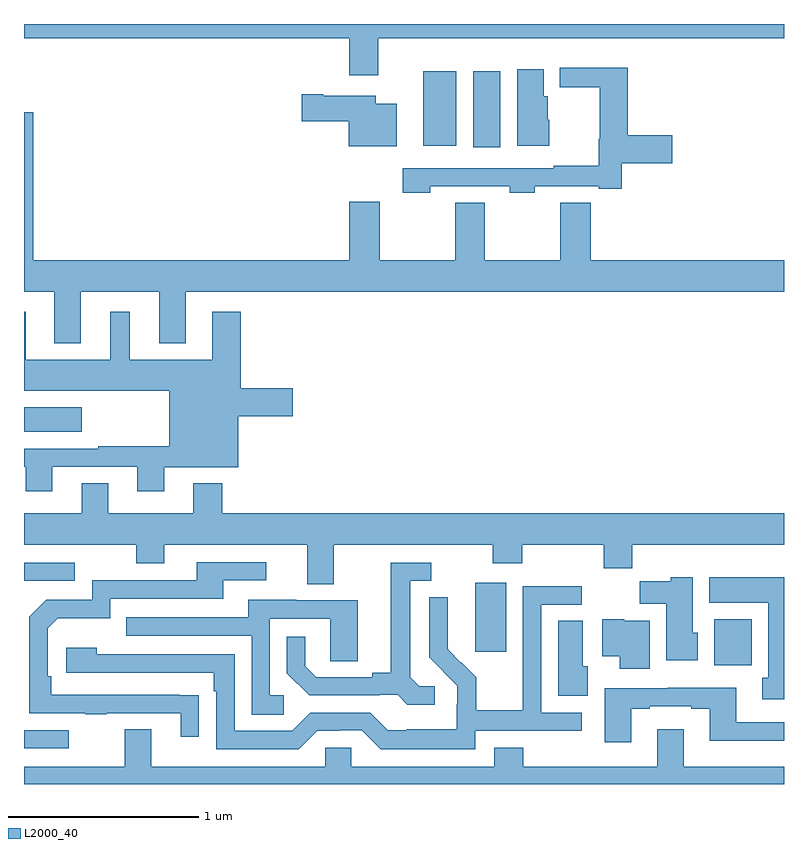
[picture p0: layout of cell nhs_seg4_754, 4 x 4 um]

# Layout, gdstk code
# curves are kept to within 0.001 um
import gdstk
lib = gdstk.Library(unit=1e-6, precision=1e-09)
def R(c, l, rs):  # rectangles x0, y0, x1, y1
    for r in rs: c.add(gdstk.rectangle(r[:2], r[2:], *l))
def P(c, l, *ps):  # polygons
    for p in ps: c.add(gdstk.Polygon(p, *l))
L2000_40 = (2000, 40)

nhs_seg4_754 = lib.new_cell('nhs_seg4_754')
R(nhs_seg4_754, L2000_40, [(149,789.087,149.236,789.183), (152.633,789.524,152.83,789.766), (151.376,789.597,151.537,789.958), (149,789.969,149.266,790.065), (149,790.754,149.305,790.882), (151.364,792.252,151.507,792.652), (151.1,792.26,151.276,792.652)])
P(nhs_seg4_754, L2000_40, [(150.865,792.824),(153,792.824),(153,792.9),(149,792.9),(149,792.824),(150.713,792.824),(150.713,792.63),(150.865,792.63)],
  [(151.137,792.045),(151.557,792.045),(151.557,792.013),(151.689,792.013),(151.689,792.045),(152.024,792.045),(152.024,792.033),(152.146,792.033),(152.146,792.167),(152.413,792.167),(152.413,792.314),(152.177,792.314),(152.177,792.67),(151.821,792.67),(151.821,792.568),(152.03,792.568),(152.03,792.297),(152.024,792.297),(152.024,792.154),(151.789,792.154),(151.789,792.141),(150.993,792.141),(150.993,792.013),(151.137,792.013)],
  [(151.765,792.396),(151.756,792.396),(151.756,792.519),(151.735,792.519),(151.735,792.661),(151.595,792.661),(151.595,792.26),(151.765,792.26)],
  [(150.961,792.481),(150.85,792.481),(150.85,792.523),(150.574,792.523),(150.574,792.531),(150.462,792.531),(150.462,792.389),(150.71,792.389),(150.71,792.257),(150.961,792.257)],
  [(149.299,791.492),(149.711,791.492),(149.711,791.219),(149.851,791.219),(149.851,791.492),(153,791.492),(153,791.656),(151.982,791.656),(151.982,791.96),(151.822,791.96),(151.822,791.656),(151.424,791.656),(151.424,791.96),(151.27,791.96),(151.27,791.656),(150.873,791.656),(150.873,791.965),(150.713,791.965),(150.713,791.656),(149.048,791.656),(149.048,792.436),(149,792.436),(149,791.492),(149.159,791.492),(149.159,791.219),(149.299,791.219)],
  [(149.149,790.569),(149.597,790.569),(149.597,790.44),(149.737,790.44),(149.737,790.568),(150.127,790.568),(150.127,790.835),(150.415,790.835),(150.415,790.982),(150.14,790.982),(150.14,791.386),(149.99,791.386),(149.99,791.134),(149.557,791.134),(149.557,791.386),(149.453,791.386),(149.453,791.134),(149.008,791.134),(149.008,791.386),(149,791.386),(149,790.97),(149.765,790.97),(149.765,790.678),(149.392,790.678),(149.392,790.665),(149,790.665),(149,790.569),(149.009,790.569),(149.009,790.44),(149.149,790.44)],
  [(150.631,790.16),(151.468,790.16),(151.468,790.061),(151.623,790.061),(151.623,790.16),(152.05,790.16),(152.05,790.036),(152.201,790.036),(152.201,790.16),(153,790.16),(153,790.324),(150.044,790.324),(150.044,790.483),(149.891,790.483),(149.891,790.324),(149.443,790.324),(149.443,790.484),(149.303,790.484),(149.303,790.324),(149,790.324),(149,790.16),(149.59,790.16),(149.59,790.061),(149.737,790.061),(149.737,790.16),(150.491,790.16),(150.491,789.952),(150.631,789.952)],
  [(149.921,789.368),(149.144,789.369),(149.144,789.466),(149.124,789.466),(149.124,789.72),(149.177,789.773),(149.454,789.773),(149.454,789.876),(150.049,789.876),(150.049,789.972),(150.274,789.972),(150.274,790.068),(149.909,790.068),(149.909,789.972),(149.358,789.972),(149.358,789.87),(149.118,789.87),(149.028,789.78),(149.028,789.273),(149.323,789.273),(149.323,789.268),(149.435,789.268),(149.435,789.273),(149.825,789.273),(149.825,789.15),(149.921,789.15)],
  [(151.162,789.414),(151.08,789.414),(151.033,789.461),(151.033,789.969),(151.144,789.969),(151.144,790.065),(150.929,790.065),(150.929,789.485),(150.833,789.485),(150.833,789.462),(150.538,789.462),(150.481,789.519),(150.481,789.676),(150.384,789.676),(150.384,789.482),(150.5,789.366),(150.872,789.366),(150.872,789.369),(150.966,789.369),(151.018,789.317),(151.162,789.317)],
  [(153,789.988),(152.606,789.988),(152.606,789.854),(152.918,789.854),(152.918,789.458),(152.885,789.458),(152.885,789.345),(153,789.345)],
  [(152.545,789.696),(152.521,789.696),(152.521,789.988),(152.403,789.988),(152.403,789.967),(152.242,789.967),(152.242,789.848),(152.381,789.848),(152.381,789.552),(152.545,789.552)],
  [(151.374,789.18),(151.936,789.18),(151.936,789.276),(151.722,789.276),(151.722,789.843),(151.936,789.843),(151.936,789.942),(151.626,789.942),(151.626,789.509),(151.624,789.509),(151.624,789.289),(151.379,789.289),(151.379,789.463),(151.302,789.54),(151.299,789.537),(151.229,789.608),(151.229,789.743),(151.231,789.743),(151.231,789.884),(151.134,789.884),(151.134,789.566),(151.28,789.418),(151.28,789.321),(151.278,789.321),(151.278,789.187),(151.015,789.187),(151.015,789.183),(150.915,789.183),(150.822,789.276),(150.507,789.276),(150.411,789.18),(150.108,789.18),(150.108,789.582),(149.384,789.582),(149.384,789.616),(149.223,789.616),(149.223,789.486),(149.999,789.486),(149.999,789.389),(150.012,789.389),(150.012,789.084),(150.447,789.084),(150.543,789.18),(150.662,789.18),(150.662,789.183),(150.777,789.183),(150.877,789.083),(151.374,789.083)],
  [(150.367,789.366),(150.294,789.366),(150.294,789.771),(150.612,789.771),(150.612,789.547),(150.757,789.547),(150.757,789.867),(150.433,789.867),(150.433,789.871),(150.179,789.871),(150.179,789.777),(149.539,789.777),(149.539,789.681),(150.198,789.681),(150.198,789.265),(150.367,789.265)],
  [(152.293,789.76),(152.16,789.76),(152.16,789.766),(152.043,789.766),(152.043,789.572),(152.135,789.572),(152.135,789.507),(152.293,789.507)],
  [(151.968,789.519),(151.942,789.519),(151.942,789.758),(151.811,789.758),(151.811,789.365),(151.968,789.365)],
  [(152.197,789.297),(152.293,789.297),(152.293,789.309),(152.513,789.309),(152.513,789.297),(152.609,789.297),(152.609,789.128),(153,789.128),(153,789.225),(152.749,789.225),(152.749,789.406),(152.389,789.406),(152.389,789.405),(152.057,789.405),(152.057,789.12),(152.197,789.12)],
  [(153,788.992),(152.473,788.992),(152.473,789.187),(152.333,789.187),(152.333,788.992),(151.628,788.992),(151.628,789.091),(151.475,789.091),(151.475,788.992),(150.723,788.992),(150.723,789.09),(150.585,789.09),(150.585,788.992),(149.671,788.992),(149.671,789.187),(149.531,789.187),(149.531,788.992),(149,788.992),(149,788.9),(153,788.9)])

lib.write_gds('nhs_seg4_754.gds')
